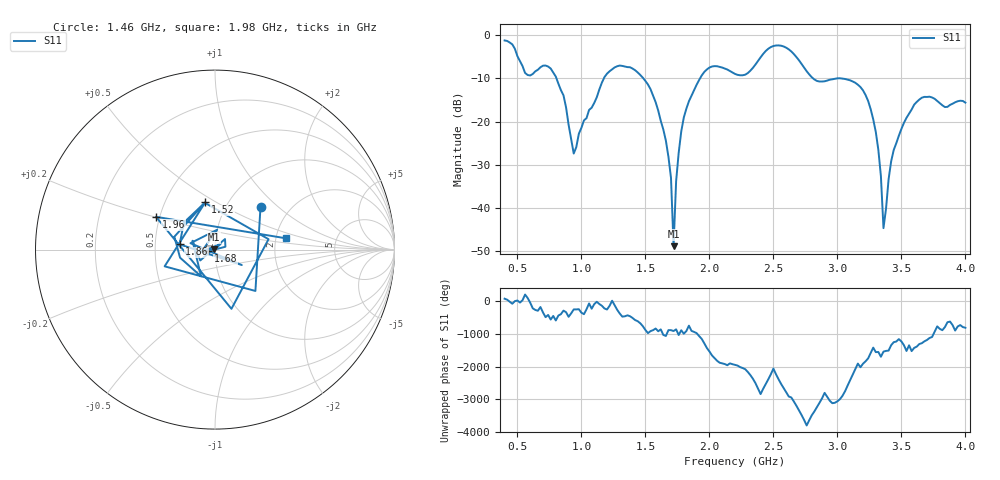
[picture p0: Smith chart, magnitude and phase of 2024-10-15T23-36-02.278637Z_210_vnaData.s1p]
! Created with skrf (http://scikit-rf.org).
# Hz S RI R 50.0
!freq ReS11 ImS11
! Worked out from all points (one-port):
!   181 points, 400 MHz to 4 GHz, reference 50 ohm
!   lowest |S11| = -48.8 dB at 1.72 GHz (marker M1), VSWR 1.01, Z = 49.6 + j0.088 ohm
!   |S11| at or under -10 dB: 805.3 MHz to 1.175 GHz (370 MHz wide, 37.4 % of centre); 1.484 GHz to 1.927 GHz (442.3 MHz wide, 25.9 % of centre); 3.03 GHz to end of sweep (the widest 3 of 4)
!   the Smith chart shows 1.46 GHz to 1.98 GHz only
!   S11 on the Smith chart (normalised r, x): 1.46 GHz: 1.43, +0.77; 1.52 GHz: 0.79, +0.45; 1.68 GHz: 0.93, -0.02; 1.86 GHz: 0.67, +0.04; 1.96 GHz: 0.48, +0.20; 1.98 GHz: 2.28, +0.34
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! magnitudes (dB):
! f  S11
! 400 MHz  -1.2
! 580 MHz  -9.2
! 760 MHz  -7.7
! 860 MHz  -13.9
! 940 MHz  -27.4
! 1.18 GHz  -9.7
! 1.3 GHz  -7.0
! 1.46 GHz  -9.2
! 1.52 GHz  -11.4
! 1.68 GHz  -28.1
! 1.7 GHz  -33.0
! 1.72 GHz  -48.8
! 1.74 GHz  -33.8
! 1.76 GHz  -27.2
! 1.86 GHz  -14.0
! 1.96 GHz  -8.5
! 1.98 GHz  -7.9
! 2.2 GHz  -9.0
! 2.5 GHz  -2.5
! 2.66 GHz  -4.4
! 2.84 GHz  -10.6
! 3.1 GHz  -10.4
! 3.28 GHz  -19.5
! 3.34 GHz  -32.6
! 3.36 GHz  -44.6
! 3.42 GHz  -29.2
! 3.56 GHz  -18.1
! 4 GHz  -15.6
